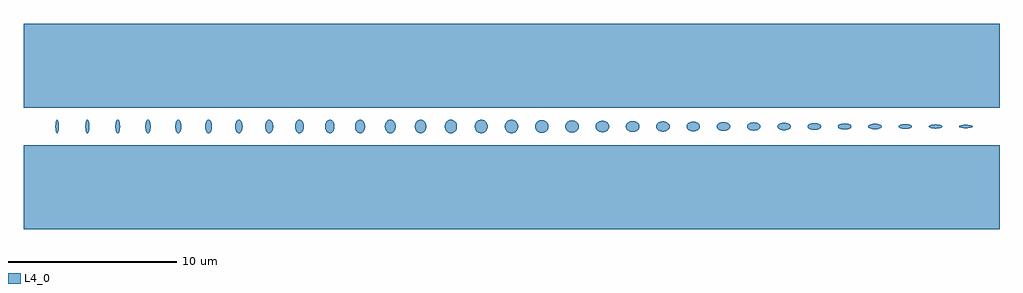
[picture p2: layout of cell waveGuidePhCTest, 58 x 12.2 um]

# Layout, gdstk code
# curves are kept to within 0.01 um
import gdstk
lib = gdstk.Library(unit=1e-6, precision=1e-09)
def R(c, l, rs):  # rectangles x0, y0, x1, y1
    for r in rs: c.add(gdstk.rectangle(r[:2], r[2:], *l))
def P(c, l, *ps):  # polygons
    for p in ps: c.add(gdstk.Polygon(p, *l))
L4_0 = (4, 0)

waveguidephctest = lib.new_cell('waveGuidePhCTest')
R(waveguidephctest, L4_0, [(-24,-2.1,34,2.9), (-24,5.1,34,10.1)])
P(waveguidephctest, L4_0, [(-22,3.6),(-22.031,3.62),(-22.071,3.717),(-22.1,4),(-22.071,4.283),(-22.031,4.38),(-22,4.4),(-21.969,4.38),(-21.929,4.283),(-21.9,4),(-21.929,3.717),(-21.969,3.62)],
  [(-20.209,3.601),(-20.244,3.628),(-20.288,3.728),(-20.315,3.882),(-20.319,4.06),(-20.275,4.313),(-20.227,4.39),(-20.191,4.399),(-20.156,4.372),(-20.112,4.272),(-20.085,4.118),(-20.081,3.94),(-20.125,3.687),(-20.173,3.61)],
  [(-18.4,3.6),(-18.458,3.636),(-18.492,3.698),(-18.527,3.834),(-18.54,4),(-18.506,4.262),(-18.458,4.364),(-18.4,4.4),(-18.342,4.364),(-18.308,4.302),(-18.273,4.166),(-18.26,4),(-18.294,3.738),(-18.342,3.636)],
  [(-16.611,3.601),(-16.674,3.645),(-16.724,3.748),(-16.754,3.892),(-16.759,4.054),(-16.737,4.208),(-16.692,4.327),(-16.633,4.392),(-16.589,4.399),(-16.526,4.355),(-16.476,4.252),(-16.446,4.108),(-16.441,3.946),(-16.463,3.792),(-16.508,3.673),(-16.567,3.608)],
  [(-14.8,3.6),(-14.869,3.63),(-14.927,3.717),(-14.966,3.847),(-14.98,4),(-14.966,4.153),(-14.927,4.283),(-14.869,4.37),(-14.8,4.4),(-14.731,4.37),(-14.673,4.283),(-14.634,4.153),(-14.62,4),(-14.634,3.847),(-14.673,3.717),(-14.731,3.63)],
  [(-13.013,3.601),(-13.085,3.638),(-13.146,3.726),(-13.186,3.853),(-13.2,4),(-13.186,4.147),(-13.146,4.274),(-13.085,4.362),(-13.037,4.393),(-12.987,4.399),(-12.915,4.362),(-12.854,4.274),(-12.814,4.147),(-12.8,4),(-12.814,3.853),(-12.854,3.726),(-12.915,3.638),(-12.963,3.607)],
  [(-11.2,3.6),(-11.278,3.626),(-11.365,3.735),(-11.406,3.858),(-11.42,4),(-11.406,4.142),(-11.365,4.265),(-11.278,4.374),(-11.2,4.4),(-11.122,4.374),(-11.035,4.265),(-10.994,4.142),(-10.98,4),(-10.994,3.858),(-11.035,3.735),(-11.122,3.626)],
  [(-9.414,3.601),(-9.495,3.633),(-9.565,3.709),(-9.626,3.863),(-9.64,4),(-9.626,4.137),(-9.565,4.291),(-9.469,4.383),(-9.386,4.399),(-9.305,4.367),(-9.235,4.291),(-9.174,4.137),(-9.16,4),(-9.174,3.863),(-9.235,3.709),(-9.331,3.617)],
  [(-7.6,3.6),(-7.686,3.622),(-7.784,3.717),(-7.834,3.826),(-7.86,4),(-7.834,4.174),(-7.784,4.283),(-7.686,4.378),(-7.6,4.4),(-7.514,4.378),(-7.416,4.283),(-7.366,4.174),(-7.34,4),(-7.366,3.826),(-7.416,3.717),(-7.514,3.622)],
  [(-5.815,3.601),(-5.904,3.628),(-6.003,3.725),(-6.054,3.832),(-6.08,4),(-6.054,4.168),(-5.981,4.305),(-5.904,4.372),(-5.785,4.399),(-5.696,4.372),(-5.597,4.275),(-5.546,4.168),(-5.52,4),(-5.546,3.832),(-5.619,3.695),(-5.696,3.628)],
  [(-4,3.6),(-4.122,3.635),(-4.223,3.732),(-4.274,3.837),(-4.3,4),(-4.274,4.163),(-4.223,4.268),(-4.122,4.365),(-4,4.4),(-3.878,4.365),(-3.777,4.268),(-3.726,4.163),(-3.7,4),(-3.726,3.837),(-3.777,3.732),(-3.878,3.635)],
  [(-2.184,3.601),(-2.311,3.625),(-2.42,3.71),(-2.494,3.842),(-2.52,4),(-2.494,4.158),(-2.443,4.261),(-2.341,4.359),(-2.216,4.399),(-2.089,4.375),(-1.98,4.29),(-1.906,4.158),(-1.88,4),(-1.906,3.842),(-1.957,3.739),(-2.059,3.641)],
  [(-0.4,3.6),(-0.53,3.63),(-0.64,3.717),(-0.714,3.847),(-0.74,4),(-0.714,4.153),(-0.64,4.283),(-0.53,4.37),(-0.4,4.4),(-0.27,4.37),(-0.16,4.283),(-0.086,4.153),(-0.06,4),(-0.086,3.847),(-0.16,3.717),(-0.27,3.63)],
  [(1.383,3.6),(1.25,3.636),(1.139,3.724),(1.066,3.851),(1.04,4),(1.066,4.149),(1.139,4.276),(1.25,4.364),(1.315,4.389),(1.417,4.4),(1.55,4.364),(1.661,4.276),(1.734,4.149),(1.76,4),(1.734,3.851),(1.661,3.724),(1.55,3.636),(1.485,3.611)],
  [(3.2,3.6),(3.063,3.627),(2.944,3.704),(2.86,3.822),(2.826,3.927),(2.82,4),(2.826,4.073),(2.86,4.178),(2.944,4.296),(3.063,4.373),(3.2,4.4),(3.337,4.373),(3.456,4.296),(3.54,4.178),(3.574,4.073),(3.58,4),(3.574,3.927),(3.54,3.822),(3.456,3.704),(3.337,3.627)],
  [(4.982,3.6),(4.843,3.632),(4.699,3.737),(4.626,3.859),(4.6,4),(4.614,4.106),(4.64,4.174),(4.724,4.289),(4.843,4.368),(5.018,4.4),(5.157,4.368),(5.301,4.263),(5.374,4.141),(5.4,4),(5.386,3.894),(5.36,3.826),(5.276,3.711),(5.157,3.632)],
  [(6.8,3.62),(6.727,3.626),(6.622,3.66),(6.504,3.744),(6.427,3.863),(6.4,4),(6.427,4.137),(6.504,4.256),(6.622,4.34),(6.727,4.374),(6.8,4.38),(6.873,4.374),(6.978,4.34),(7.096,4.256),(7.173,4.137),(7.2,4),(7.173,3.863),(7.096,3.744),(6.978,3.66),(6.873,3.626)],
  [(8.581,3.64),(8.434,3.673),(8.311,3.752),(8.229,3.866),(8.2,4),(8.207,4.068),(8.244,4.165),(8.338,4.272),(8.469,4.34),(8.619,4.36),(8.766,4.327),(8.889,4.248),(8.971,4.134),(9,4),(8.993,3.932),(8.956,3.835),(8.862,3.728),(8.731,3.66)],
  [(10.4,3.66),(10.247,3.686),(10.117,3.76),(10.03,3.87),(10,4),(10.03,4.13),(10.117,4.24),(10.247,4.314),(10.4,4.34),(10.553,4.314),(10.683,4.24),(10.77,4.13),(10.8,4),(10.77,3.87),(10.683,3.76),(10.553,3.686)],
  [(12.18,3.68),(12.024,3.713),(11.896,3.792),(11.818,3.904),(11.802,3.968),(11.808,4.064),(11.872,4.183),(11.988,4.272),(12.139,4.316),(12.3,4.31),(12.445,4.253),(12.55,4.155),(12.592,4.064),(12.592,3.936),(12.55,3.845),(12.445,3.747),(12.3,3.69)],
  [(14,3.7),(13.837,3.726),(13.732,3.777),(13.635,3.878),(13.6,4),(13.635,4.122),(13.732,4.223),(13.837,4.274),(14,4.3),(14.163,4.274),(14.268,4.223),(14.365,4.122),(14.4,4),(14.365,3.878),(14.268,3.777),(14.163,3.726)],
  [(15.778,3.72),(15.576,3.768),(15.457,3.856),(15.402,3.97),(15.421,4.089),(15.51,4.193),(15.576,4.232),(15.693,4.27),(15.865,4.276),(16.024,4.232),(16.118,4.169),(16.179,4.089),(16.2,4),(16.179,3.911),(16.118,3.831),(16.024,3.768),(15.907,3.73)],
  [(17.6,3.74),(17.387,3.78),(17.287,3.838),(17.222,3.914),(17.2,4),(17.21,4.058),(17.261,4.138),(17.317,4.184),(17.426,4.234),(17.511,4.253),(17.689,4.253),(17.774,4.234),(17.883,4.184),(17.978,4.086),(18,4),(17.99,3.942),(17.913,3.838),(17.774,3.766)],
  [(19.377,3.76),(19.161,3.807),(19.043,3.892),(19.011,3.945),(19,4),(19.024,4.082),(19.066,4.132),(19.2,4.208),(19.377,4.24),(19.6,4.208),(19.734,4.132),(19.776,4.082),(19.8,4),(19.776,3.918),(19.734,3.868),(19.6,3.792)],
  [(21.2,3.78),(21.014,3.805),(20.871,3.875),(20.826,3.922),(20.8,4),(20.812,4.053),(20.846,4.102),(20.935,4.165),(21.014,4.195),(21.2,4.22),(21.386,4.195),(21.529,4.125),(21.574,4.078),(21.6,4),(21.588,3.947),(21.554,3.898),(21.465,3.835),(21.386,3.805)],
  [(22.975,3.8),(22.786,3.831),(22.676,3.882),(22.628,3.926),(22.603,3.975),(22.603,4.025),(22.628,4.074),(22.676,4.118),(22.83,4.181),(23.025,4.2),(23.214,4.169),(23.324,4.118),(23.372,4.074),(23.397,4.025),(23.397,3.975),(23.372,3.926),(23.324,3.882),(23.17,3.819)],
  [(24.8,3.82),(24.6,3.844),(24.483,3.89),(24.43,3.931),(24.403,3.977),(24.414,4.047),(24.517,4.127),(24.696,4.174),(24.904,4.174),(25.044,4.143),(25.117,4.11),(25.17,4.069),(25.197,4.023),(25.197,3.977),(25.17,3.931),(25.044,3.857)],
  [(26.573,3.84),(26.369,3.869),(26.233,3.936),(26.204,3.978),(26.204,4.022),(26.233,4.064),(26.327,4.117),(26.519,4.157),(26.734,4.151),(26.91,4.101),(26.967,4.064),(26.996,4.022),(26.996,3.978),(26.967,3.936),(26.873,3.883),(26.734,3.849)],
  [(28.4,3.86),(28.234,3.873),(28.098,3.908),(28.016,3.961),(28.004,4.02),(28.036,4.058),(28.098,4.092),(28.287,4.134),(28.513,4.134),(28.702,4.092),(28.764,4.058),(28.796,4.02),(28.796,3.98),(28.764,3.942),(28.616,3.882)],
  [(30.17,3.88),(29.951,3.906),(29.84,3.948),(29.804,3.982),(29.804,4.018),(29.907,4.082),(30.111,4.117),(30.346,4.112),(30.493,4.082),(30.596,4.018),(30.582,3.965),(30.493,3.918),(30.346,3.888)],
  [(32,3.9),(31.717,3.929),(31.62,3.969),(31.6,4),(31.62,4.031),(31.676,4.059),(31.818,4.089),(32.063,4.099),(32.283,4.071),(32.395,4.016),(32.38,3.969),(32.235,3.919)])

lib.write_gds('waveGuidePhCTest.gds')
